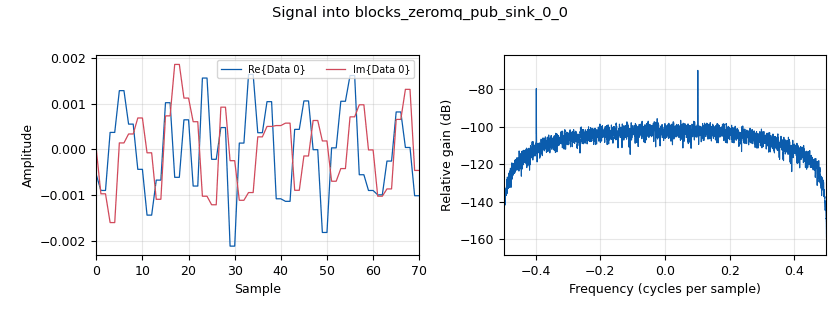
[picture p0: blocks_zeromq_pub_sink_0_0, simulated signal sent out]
options:
  parameters:
    author: Jérôme Odier
    description: https://www.odier.xyz/
    generate_options: no_gui
    id: spectro_fake_2
    output_language: python
    title: Spectro Fake
  states: {}

blocks:
- name: analog_fastnoise_source_x_0
  id: analog_fastnoise_source_x
  parameters:
    amp: '0.001'
    noise_type: analog.GR_GAUSSIAN
    samples: '8192'
    seed: '0'
    type: complex
  states: {}
- name: analog_fastnoise_source_x_0_0
  id: analog_fastnoise_source_x
  parameters:
    amp: '0.001'
    noise_type: analog.GR_GAUSSIAN
    samples: '8192'
    seed: '0'
    type: complex
  states: {}
- name: analog_sig_source_x_0
  id: analog_sig_source_x
  parameters:
    amp: '0.001'
    freq: '1420405751'
    offset: '0'
    phase: '0'
    samp_rate: bandwidth
    type: complex
    waveform: analog.GR_COS_WAVE
  states: {}
- name: bandwidth
  id: parameter
  parameters:
    type: eng_float
    value: 2e6
  states: {}
- name: blocks_add_xx_0
  id: blocks_add_xx
  parameters:
    type: complex
  states: {}
- name: blocks_add_xx_0_0
  id: blocks_add_xx
  parameters:
    type: complex
  states: {}
- name: blocks_streams_to_vector_0
  id: blocks_streams_to_vector
  parameters:
    type: float
    vlen: fft_bins
  states: {}
- name: blocks_streams_to_vector_0_0
  id: blocks_streams_to_vector
  parameters:
    type: complex
  states: {}
- name: blocks_throttle_0
  id: blocks_throttle
  parameters:
    samples_per_second: bandwidth
    type: complex
  states: {}
- name: blocks_throttle_0_0
  id: blocks_throttle
  parameters:
    samples_per_second: bandwidth
    type: complex
  states: {}
- name: blocks_zeromq_pub_sink_0
  id: zeromq_pub_sink
  parameters:
    address: '''tcp://*:{}''.format(port2)'
    timeout: '100'
    type: float
    vlen: 2 * fft_bins
  states: {}
- name: blocks_zeromq_pub_sink_0_0
  id: zeromq_pub_sink
  parameters:
    address: '''tcp://*:{}''.format(port1)'
    timeout: '100'
    type: complex
    vlen: '2'
  states: {}
- name: clk_src
  id: parameter
  parameters:
    type: str
    value: internal
  states: {}
- name: fft_bins
  id: parameter
  parameters:
    type: intx
    value: '2048'
  states: {}
- name: frequency
  id: parameter
  parameters:
    type: eng_float
    value: 1420e6
  states: {}
- name: int_time
  id: parameter
  parameters:
    type: intx
    value: '1'
  states: {}
- name: port1
  id: parameter
  parameters:
    type: intx
    value: '50001'
  states: {}
- name: port2
  id: parameter
  parameters:
    type: intx
    value: '50002'
  states: {}
- name: rx_gain
  id: parameter
  parameters:
    type: eng_float
    value: '30'
  states: {}
- name: spectro_0
  id: spectro
  parameters:
    bandwidth: bandwidth
    fft_bins: fft_bins
    int_time: int_time
  states: {}
- name: spectro_0_0
  id: spectro
  parameters:
    bandwidth: bandwidth
    fft_bins: fft_bins
    int_time: int_time
  states: {}

connections:
- [analog_fastnoise_source_x_0, '0', blocks_add_xx_0, '0']
- [analog_fastnoise_source_x_0_0, '0', blocks_add_xx_0_0, '1']
- [analog_sig_source_x_0, '0', blocks_add_xx_0, '1']
- [analog_sig_source_x_0, '0', blocks_add_xx_0_0, '0']
- [blocks_add_xx_0, '0', blocks_throttle_0, '0']
- [blocks_add_xx_0_0, '0', blocks_throttle_0_0, '0']
- [blocks_streams_to_vector_0, '0', blocks_zeromq_pub_sink_0, '0']
- [blocks_streams_to_vector_0_0, '0', blocks_zeromq_pub_sink_0_0, '0']
- [blocks_throttle_0, '0', blocks_streams_to_vector_0_0, '0']
- [blocks_throttle_0, '0', spectro_0, '0']
- [blocks_throttle_0_0, '0', blocks_streams_to_vector_0_0, '1']
- [blocks_throttle_0_0, '0', spectro_0_0, '0']
- [spectro_0, '0', blocks_streams_to_vector_0, '0']
- [spectro_0_0, '0', blocks_streams_to_vector_0, '1']

metadata:
  file_format: 1
